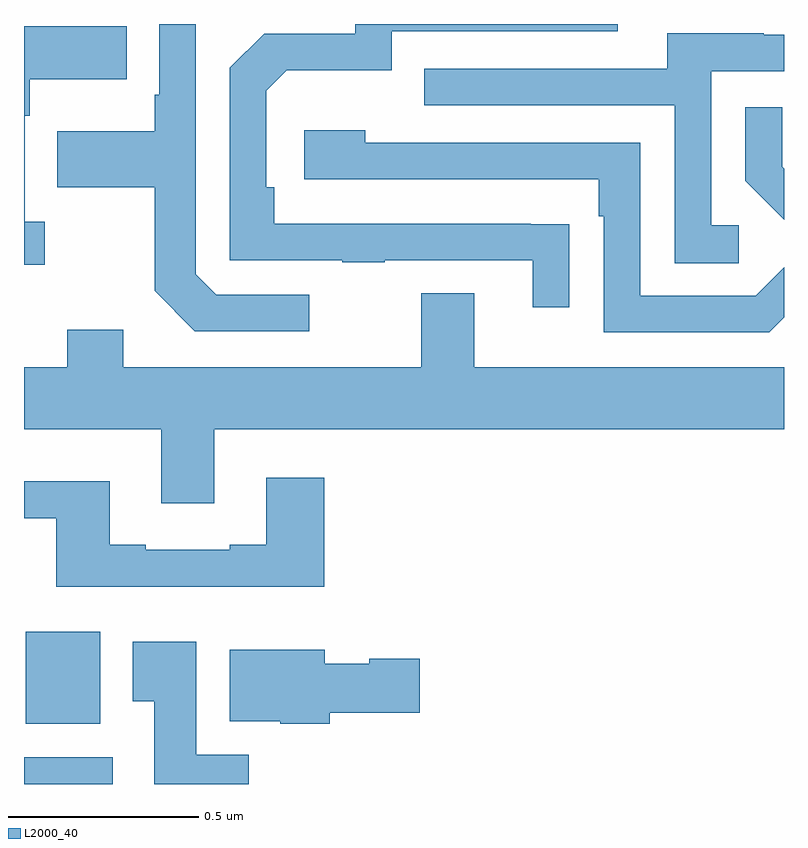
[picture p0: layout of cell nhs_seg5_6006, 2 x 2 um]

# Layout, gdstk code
import gdstk
lib = gdstk.Library(unit=1e-6, precision=1e-09)
def R(c, l, rs):  # rectangles x0, y0, x1, y1
    for r in rs: c.add(gdstk.rectangle(r[:2], r[2:], *l))
def P(c, l, *ps):  # polygons
    for p in ps: c.add(gdstk.Polygon(p, *l))
L2000_40 = (2000, 40)

nhs_seg5_6006 = lib.new_cell('nhs_seg5_6006')
R(nhs_seg5_6006, L2000_40, [(190,883.799,190.234,883.87), (190.004,883.958,190.201,884.2)])
P(nhs_seg5_6006, L2000_40, [(190.75,885.087),(190.506,885.087),(190.452,885.141),(190.452,885.799),(190.356,885.799),(190.356,885.613),(190.344,885.613),(190.344,885.517),(190.087,885.517),(190.087,885.37),(190.344,885.37),(190.344,885.097),(190.449,884.991),(190.75,884.991)],
  [(191.435,885.272),(191.333,885.272),(191.333,885.273),(190.658,885.273),(190.658,885.37),(190.638,885.37),(190.638,885.624),(190.691,885.677),(190.968,885.677),(190.968,885.78),(191.563,885.78),(191.563,885.799),(190.872,885.799),(190.872,885.774),(190.632,885.774),(190.542,885.684),(190.542,885.177),(190.837,885.177),(190.837,885.172),(190.949,885.172),(190.949,885.177),(191.339,885.177),(191.339,885.054),(191.435,885.054)],
  [(190.054,885.278),(190.002,885.278),(190.002,885.557),(190.015,885.557),(190.015,885.653),(190.271,885.653),(190.271,885.793),(190,885.793),(190,885.165),(190.054,885.165)],
  [(191.881,885.27),(191.808,885.27),(191.808,885.675),(192,885.675),(192,885.771),(191.947,885.771),(191.947,885.775),(191.693,885.775),(191.693,885.681),(191.053,885.681),(191.053,885.585),(191.712,885.585),(191.712,885.169),(191.881,885.169)],
  [(192,885.418),(191.995,885.423),(191.995,885.58),(191.898,885.58),(191.898,885.386),(192,885.284)],
  [(192,885.027),(192,885.159),(191.925,885.084),(191.622,885.084),(191.622,885.486),(190.898,885.486),(190.898,885.52),(190.737,885.52),(190.737,885.39),(191.513,885.39),(191.513,885.293),(191.526,885.293),(191.526,884.988),(191.961,884.988)],
  [(190.501,884.732),(192,884.732),(192,884.896),(191.185,884.896),(191.185,885.091),(191.045,885.091),(191.045,884.896),(190.261,884.896),(190.261,884.995),(190.114,884.995),(190.114,884.896),(190,884.896),(190,884.732),(190.361,884.732),(190.361,884.538),(190.501,884.538)],
  [(190.79,884.605),(190.637,884.605),(190.637,884.428),(190.541,884.428),(190.541,884.415),(190.321,884.415),(190.321,884.428),(190.225,884.428),(190.225,884.596),(190,884.596),(190,884.499),(190.085,884.499),(190.085,884.318),(190.79,884.318)],
  [(190.592,883.876),(190.453,883.876),(190.453,884.173),(190.286,884.173),(190.286,884.017),(190.343,884.017),(190.343,883.799),(190.592,883.799)],
  [(190.805,883.987),(191.041,883.987),(191.041,884.129),(190.908,884.129),(190.908,884.116),(190.792,884.116),(190.792,884.152),(190.541,884.152),(190.541,883.964),(190.674,883.964),(190.674,883.958),(190.805,883.958)])

lib.write_gds('nhs_seg5_6006.gds')
